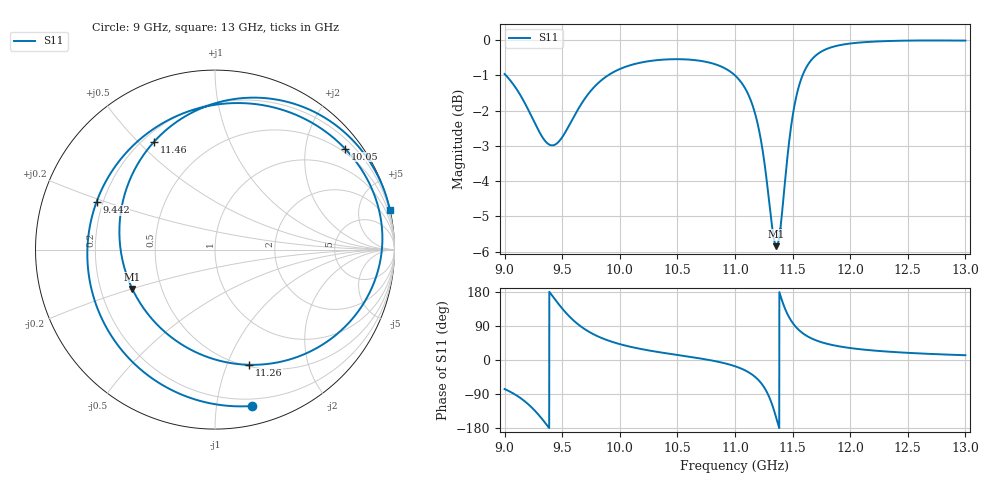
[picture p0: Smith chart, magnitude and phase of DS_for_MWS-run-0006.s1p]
! TOUCHSTONE file generated by CST DESIGN STUDIO
! Date and time: Tue Feb  4 13:54:28 2025
! Project name: C:\Work\MatlabApps\UnitCellOptimizationMatlab\CST\unitcell.cst
! Tree item: Tasks\Sweep1\SPara1\S-Parameters
! Header version: 2024
! Port assignment regex: !\s*Touchstone port\s*([0-9]+)\s*=\s*(CST MWS port|CST DES external port|CST DES block port)\s*(.+)\s* \(\"(.*)\"\)(\s*mode\s*([0-9]+))?.*
! Touchstone port assignment:
! Touchstone port 1 = CST DES external port 1 ("")
# GHz S MA R 50
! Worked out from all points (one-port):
!   4001 points, 9 GHz to 13 GHz, reference 50 ohm
!   lowest |S11| = -5.8 dB at 11.36 GHz (marker M1), VSWR 3.08, Z = 17 - j10 ohm
!   |S11| at or under -10 dB: nowhere
!   S11 on the Smith chart (normalised r, x): 9 GHz: 0.14, -1.26; 9.442 GHz: 0.17, +0.19; 10.05 GHz: 0.41, +2.87; 11.26 GHz: 0.52, -1.20; 11.46 GHz: 0.24, +0.56; 13 GHz: 0.05, +9.06
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9  0.8956 -76.6
9.124  0.8424 -97.5
9.223  0.7862 -121.7
9.343  0.7226 -162.3
9.442  0.7115 158.0
9.5  0.7284 135.8
9.585  0.7702 108.1
9.679  0.8183 84.8
9.827  0.8738 60.0
10  0.9102 41.9
10.051  0.9171 37.8
10.5  0.94 13.3
10.8  0.9275 -1.4
11  0.8914 -16.4
11.149  0.8115 -38.5
11.205  0.7503 -53.3
11.256  0.6691 -73.6
11.31  0.5644 -107.5
11.36  0.5101 -154.6
11.406  0.5636 158.9
11.458  0.6897 119.6
11.5  0.78 98.1
11.589  0.8937 70.4
11.687  0.9468 53.9
11.817  0.9749 41.4
12  0.9894 31.6
12.5  0.9989 18.9
13  0.9988 12.6
